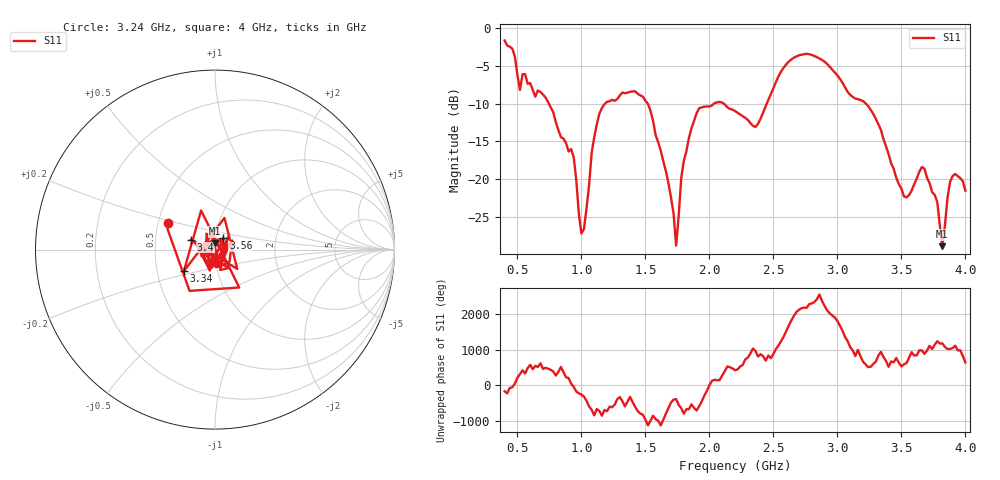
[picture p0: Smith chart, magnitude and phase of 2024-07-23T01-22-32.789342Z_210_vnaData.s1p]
!Created with skrf (http://scikit-rf.org).
# Hz S RI R 50.0
!freq ReS11 ImS11
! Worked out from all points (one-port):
!   181 points, 400 MHz to 4 GHz, reference 50 ohm
!   lowest |S11| = -28.9 dB at 3.82 GHz (marker M1), VSWR 1.07, Z = 49.8 + j3.6 ohm
!   |S11| at or under -10 dB: 745.3 MHz to 1.186 GHz (440.4 MHz wide, 45.6 % of centre); 1.518 GHz to 2.037 GHz (518.3 MHz wide, 29.2 % of centre); 3.222 GHz to end of sweep (the widest 3 of 4)
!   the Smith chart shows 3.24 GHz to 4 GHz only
!   S11 on the Smith chart (normalised r, x): 3.24 GHz: 0.56, +0.19; 3.34 GHz: 0.69, -0.17; 3.4 GHz: 0.76, +0.09; 3.56 GHz: 1.09, +0.14; 4 GHz: 1.02, -0.17
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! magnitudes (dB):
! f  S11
! 400 MHz  -1.7
! 480 MHz  -3.8
! 520 MHz  -8.2
! 560 MHz  -6.1
! 860 MHz  -14.6
! 940 MHz  -17.1
! 1 GHz  -27.2
! 1.14 GHz  -11.4
! 1.3 GHz  -8.9
! 1.52 GHz  -10.0
! 1.68 GHz  -20.5
! 1.74 GHz  -28.8
! 1.76 GHz  -24.9
! 1.8 GHz  -17.6
! 1.92 GHz  -10.6
! 2.2 GHz  -11.0
! 2.36 GHz  -13.1
! 2.66 GHz  -3.9
! 3.1 GHz  -8.9
! 3.24 GHz  -10.3
! 3.34 GHz  -13.5
! 3.4 GHz  -16.7
! 3.56 GHz  -22.1
! 3.68 GHz  -18.6
! 3.78 GHz  -23.0
! 3.82 GHz  -28.9
! 3.88 GHz  -20.4
! 4 GHz  -21.5
